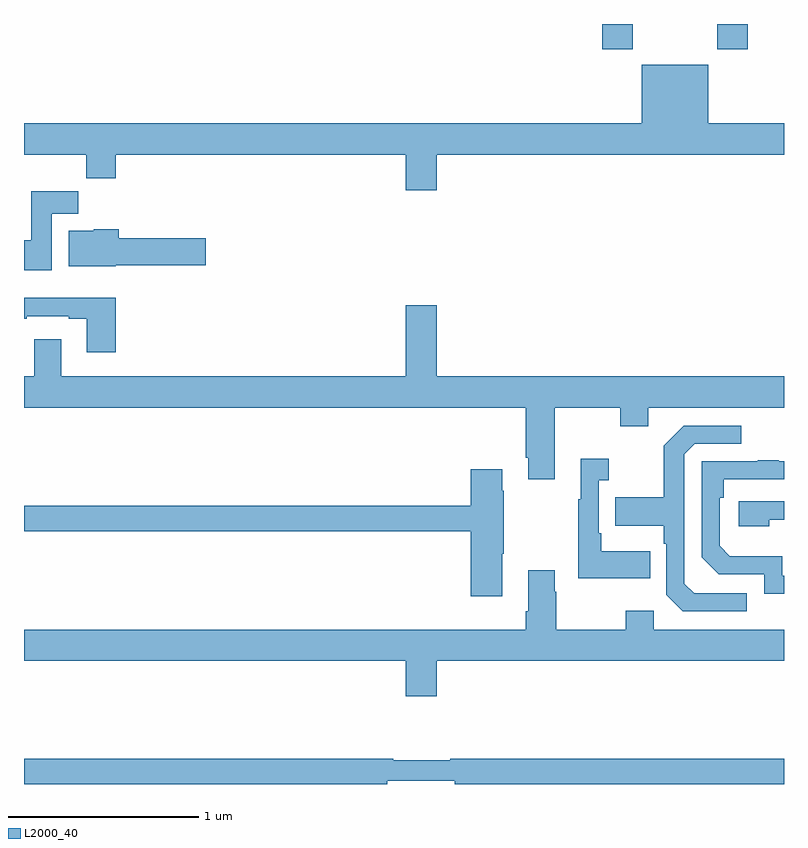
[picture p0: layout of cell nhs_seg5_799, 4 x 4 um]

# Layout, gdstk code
import gdstk
lib = gdstk.Library(unit=1e-6, precision=1e-09)
def R(c, l, rs):  # rectangles x0, y0, x1, y1
    for r in rs: c.add(gdstk.rectangle(r[:2], r[2:], *l))
def P(c, l, *ps):  # polygons
    for p in ps: c.add(gdstk.Polygon(p, *l))
L2000_40 = (2000, 40)

nhs_seg5_799 = lib.new_cell('nhs_seg5_799')
R(nhs_seg5_799, L2000_40, [(166.043,838.665,166.203,838.799), (166.648,838.665,166.808,838.799)])
P(nhs_seg5_799, L2000_40, [(165.172,838.112),(167,838.112),(167,838.276),(166.6,838.276),(166.6,838.585),(166.25,838.585),(166.25,838.276),(163,838.276),(163,838.112),(163.327,838.112),(163.327,837.988),(163.484,837.988),(163.484,838.112),(165.008,838.112),(165.008,837.924),(165.172,837.924)],
  [(163.147,837.8),(163.286,837.8),(163.286,837.919),(163.037,837.919),(163.037,837.66),(163,837.66),(163,837.504),(163.147,837.504)],
  [(163.482,837.53),(163.957,837.53),(163.957,837.672),(163.499,837.672),(163.499,837.718),(163.368,837.718),(163.368,837.712),(163.235,837.712),(163.235,837.524),(163.482,837.524)],
  [(163.484,837.358),(163,837.358),(163,837.249),(163.015,837.249),(163.015,837.261),(163.235,837.261),(163.235,837.249),(163.331,837.249),(163.331,837.072),(163.484,837.072)],
  [(165.793,836.78),(166.138,836.78),(166.138,836.681),(166.285,836.681),(166.285,836.78),(167,836.78),(167,836.944),(165.172,836.944),(165.172,837.319),(165.008,837.319),(165.008,836.944),(163.195,836.944),(163.195,837.139),(163.055,837.139),(163.055,836.944),(163,836.944),(163,836.78),(165.641,836.78),(165.641,836.515),(165.653,836.515),(165.653,836.403),(165.793,836.403)],
  [(166.804,835.803),(166.527,835.803),(166.476,835.854),(166.476,836.535),(166.53,836.589),(166.774,836.589),(166.774,836.685),(166.473,836.685),(166.368,836.579),(166.368,836.307),(166.111,836.307),(166.111,836.159),(166.368,836.159),(166.368,836.063),(166.38,836.063),(166.38,835.794),(166.467,835.707),(166.804,835.707)],
  [(166.295,836.023),(166.039,836.023),(166.039,836.119),(166.026,836.119),(166.026,836.399),(166.078,836.399),(166.078,836.512),(165.929,836.512),(165.929,836.299),(165.918,836.299),(165.918,835.883),(166.295,835.883)],
  [(167,835.896),(166.992,835.896),(166.992,835.999),(166.715,835.999),(166.662,836.052),(166.662,836.306),(166.682,836.306),(166.682,836.403),(167,836.403),(167,836.499),(166.973,836.499),(166.973,836.504),(166.861,836.504),(166.861,836.499),(166.566,836.499),(166.566,835.992),(166.656,835.902),(166.896,835.902),(166.896,835.8),(167,835.8)],
  [(165.517,836.011),(165.525,836.011),(165.525,836.342),(165.517,836.342),(165.517,836.455),(165.35,836.455),(165.35,836.264),(163,836.264),(163,836.128),(165.35,836.128),(165.35,835.788),(165.517,835.788)],
  [(166.922,836.19),(167,836.19),(167,836.286),(166.761,836.286),(166.761,836.156),(166.922,836.156)],
  [(165.172,835.448),(167,835.448),(167,835.612),(166.314,835.612),(166.314,835.711),(166.168,835.711),(166.168,835.612),(165.801,835.612),(165.801,835.811),(165.793,835.811),(165.793,835.924),(165.653,835.924),(165.653,835.708),(165.641,835.708),(165.641,835.612),(163,835.612),(163,835.448),(165.008,835.448),(165.008,835.26),(165.172,835.26)],
  [(164.912,834.815),(165.268,834.815),(165.268,834.799),(167,834.799),(167,834.932),(165.244,834.932),(165.244,834.925),(164.944,834.925),(164.944,834.932),(163,834.932),(163,834.799),(164.912,834.799)])

lib.write_gds('nhs_seg5_799.gds')
